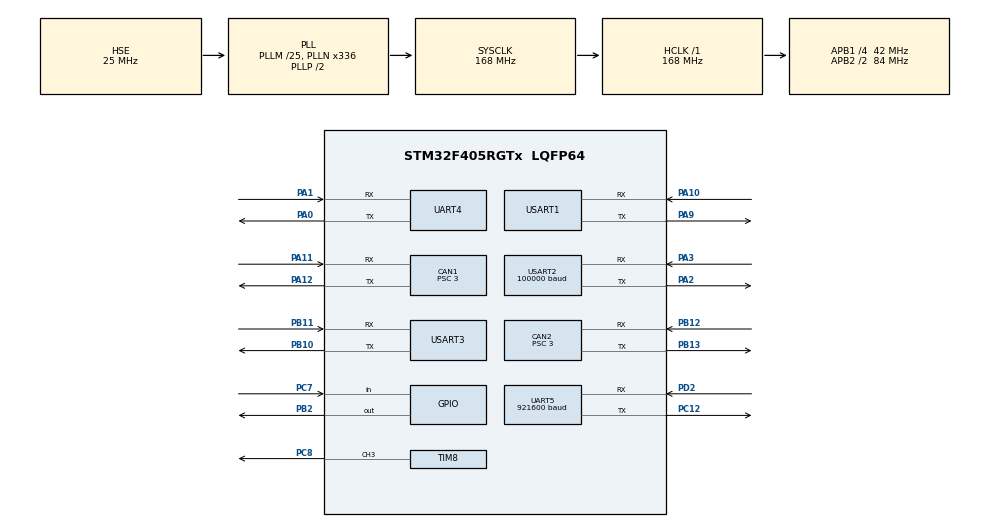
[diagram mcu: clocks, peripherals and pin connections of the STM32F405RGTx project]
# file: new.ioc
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CAN1.ABOM=ENABLE
CAN1.AWUM=ENABLE
CAN1.BS1=CAN_BS1_9TQ
CAN1.BS2=CAN_BS2_4TQ
CAN1.CalculateBaudRate=1000000
CAN1.CalculateTimeBit=1000
CAN1.CalculateTimeQuantum=71.42857142857143
CAN1.NART=DISABLE
CAN1.Prescaler=3
CAN1.TXFP=ENABLE
CAN2.ABOM=ENABLE
CAN2.AWUM=ENABLE
CAN2.BS1=CAN_BS1_9TQ
CAN2.BS2=CAN_BS2_4TQ
CAN2.CalculateBaudRate=1000000
CAN2.CalculateTimeBit=1000
CAN2.CalculateTimeQuantum=71.42857142857143
CAN2.NART=ENABLE
CAN2.Prescaler=3
CAN2.TXFP=ENABLE
Dma.Request0=USART2_RX
Dma.Request1=UART4_RX
Dma.Request2=UART5_RX
Dma.Request3=USART1_RX
Dma.UART4_RX.1.Direction=DMA_PERIPH_TO_MEMORY
Dma.UART4_RX.1.FIFOMode=DMA_FIFOMODE_DISABLE
Dma.UART4_RX.1.Instance=DMA1_Stream2
Dma.UART4_RX.1.MemDataAlignment=DMA_MDATAALIGN_BYTE
Dma.UART4_RX.1.MemInc=DMA_MINC_ENABLE
Dma.UART4_RX.1.Mode=DMA_CIRCULAR
Dma.UART4_RX.1.PeriphDataAlignment=DMA_PDATAALIGN_BYTE
Dma.UART4_RX.1.PeriphInc=DMA_PINC_DISABLE
Dma.UART4_RX.1.Priority=DMA_PRIORITY_VERY_HIGH
Dma.UART5_RX.2.Direction=DMA_PERIPH_TO_MEMORY
Dma.UART5_RX.2.FIFOMode=DMA_FIFOMODE_DISABLE
Dma.UART5_RX.2.Instance=DMA1_Stream0
Dma.UART5_RX.2.MemDataAlignment=DMA_MDATAALIGN_BYTE
Dma.UART5_RX.2.MemInc=DMA_MINC_ENABLE
Dma.UART5_RX.2.Mode=DMA_CIRCULAR
Dma.UART5_RX.2.PeriphDataAlignment=DMA_PDATAALIGN_BYTE
Dma.UART5_RX.2.PeriphInc=DMA_PINC_DISABLE
Dma.UART5_RX.2.Priority=DMA_PRIORITY_VERY_HIGH
Dma.USART1_RX.3.Direction=DMA_PERIPH_TO_MEMORY
Dma.USART1_RX.3.FIFOMode=DMA_FIFOMODE_DISABLE
Dma.USART1_RX.3.Instance=DMA2_Stream2
Dma.USART1_RX.3.MemDataAlignment=DMA_MDATAALIGN_BYTE
Dma.USART1_RX.3.MemInc=DMA_MINC_ENABLE
Dma.USART1_RX.3.Mode=DMA_CIRCULAR
Dma.USART1_RX.3.PeriphDataAlignment=DMA_PDATAALIGN_BYTE
Dma.USART1_RX.3.PeriphInc=DMA_PINC_DISABLE
Dma.USART1_RX.3.Priority=DMA_PRIORITY_VERY_HIGH
Dma.USART2_RX.0.Direction=DMA_PERIPH_TO_MEMORY
Dma.USART2_RX.0.FIFOMode=DMA_FIFOMODE_DISABLE
Dma.USART2_RX.0.Instance=DMA1_Stream5
Dma.USART2_RX.0.MemDataAlignment=DMA_MDATAALIGN_BYTE
Dma.USART2_RX.0.MemInc=DMA_MINC_ENABLE
Dma.USART2_RX.0.Mode=DMA_NORMAL
Dma.USART2_RX.0.PeriphDataAlignment=DMA_PDATAALIGN_BYTE
Dma.USART2_RX.0.PeriphInc=DMA_PINC_DISABLE
Dma.USART2_RX.0.Priority=DMA_PRIORITY_VERY_HIGH
FREERTOS.INCLUDE_vTaskDelayUntil=1
FREERTOS.Tasks01=chassis__task,0,512,chassis_task,Default,NULL,Dynamic,NULL,NULL;Gimbal__Task,0,512,Gimbal_Task,Default,NULL,Dynamic,NULL,NULL;can__Task,-1,512,can_Task,Default,NULL,Dynamic,NULL,NULL;vofa__Task,-2,128,vofa_Task,Default,NULL,Dynamic,NULL,NULL;Detect__Task,-1,512,Detect_Task,Default,NULL,Dynamic,NULL,NULL
IWDG.Prescaler=IWDG_PRESCALER_32
IWDG.Reload=100
Mcu.Family=STM32F4
Mcu.Name=STM32F405RGTx
Mcu.Package=LQFP64
NVIC.CAN1_RX0_IRQn=true\:5\:0\:true\:false\:true\:true\:true\:true\:true
NVIC.CAN2_RX0_IRQn=true\:5\:0\:true\:false\:true\:true\:true\:true\:true
NVIC.DMA1_Stream0_IRQn=true\:5\:0\:false\:false\:true\:true\:false\:true\:true
NVIC.DMA1_Stream2_IRQn=true\:5\:0\:false\:false\:true\:true\:false\:true\:true
NVIC.DMA1_Stream5_IRQn=true\:5\:0\:true\:false\:true\:true\:false\:true\:true
NVIC.DMA2_Stream2_IRQn=true\:5\:0\:false\:false\:true\:true\:false\:true\:true
NVIC.PriorityGroup=NVIC_PRIORITYGROUP_4
NVIC.TIM8_TRG_COM_TIM14_IRQn=true\:15\:0\:true\:false\:true\:false\:false\:true\:true
NVIC.TimeBase=TIM8_TRG_COM_TIM14_IRQn
NVIC.TimeBaseIP=TIM14
NVIC.UART4_IRQn=true\:8\:0\:true\:false\:true\:true\:true\:true\:true
NVIC.UART5_IRQn=true\:5\:0\:true\:false\:true\:true\:true\:true\:true
NVIC.USART1_IRQn=true\:7\:0\:true\:false\:true\:true\:true\:true\:true
NVIC.USART2_IRQn=true\:7\:0\:true\:false\:true\:true\:true\:true\:true
PA0-WKUP.Mode=Asynchronous
PA0-WKUP.Signal=UART4_TX
PA1.Mode=Asynchronous
PA1.Signal=UART4_RX
PA10.Mode=Asynchronous
PA10.Signal=USART1_RX
PA11.GPIO_PuPd=GPIO_NOPULL
PA11.Mode=CAN_Activate
PA11.Signal=CAN1_RX
PA12.Mode=CAN_Activate
PA12.Signal=CAN1_TX
PA13.Mode=Serial_Wire
PA13.Signal=SYS_JTMS-SWDIO
PA14.Mode=Serial_Wire
PA14.Signal=SYS_JTCK-SWCLK
PA2.GPIO_PuPd=GPIO_PULLUP
PA2.Mode=Asynchronous
PA2.Signal=USART2_TX
PA3.GPIO_PuPd=GPIO_PULLUP
PA3.Mode=Asynchronous
PA3.Signal=USART2_RX
PA9.Mode=Asynchronous
PA9.Signal=USART1_TX
PB10.Mode=Asynchronous
PB10.Signal=USART3_TX
PB11.Mode=Asynchronous
PB11.Signal=USART3_RX
PB12.Mode=CAN_Activate
PB12.Signal=CAN2_RX
PB13.Mode=CAN_Activate
PB13.Signal=CAN2_TX
PB2.Signal=GPIO_Output
PC12.Mode=Asynchronous
PC12.Signal=UART5_TX
PC7.Signal=GPIO_Input
PC8.Signal=S_TIM8_CH3
PD2.Mode=Asynchronous
PD2.Signal=UART5_RX
PH0-OSC_IN.Mode=HSE-External-Oscillator
PH0-OSC_IN.Signal=RCC_OSC_IN
PH1-OSC_OUT.Mode=HSE-External-Oscillator
PH1-OSC_OUT.Signal=RCC_OSC_OUT
ProjectManager.HeapSize=0x800
ProjectManager.StackSize=0x800
ProjectManager.TargetToolchain=MDK-ARM V5
RCC.48MHZClocksFreq_Value=84000000
RCC.AHBFreq_Value=168000000
RCC.APB1CLKDivider=RCC_HCLK_DIV4
RCC.APB1Freq_Value=42000000
RCC.APB1TimFreq_Value=84000000
RCC.APB2CLKDivider=RCC_HCLK_DIV2
RCC.APB2Freq_Value=84000000
RCC.APB2TimFreq_Value=168000000
RCC.CortexFreq_Value=168000000
RCC.HCLKFreq_Value=168000000
RCC.HSE_VALUE=25000000
RCC.HSI_VALUE=16000000
RCC.LSE_VALUE=32768
RCC.PLLM=25
RCC.PLLN=336
RCC.PLLSourceVirtual=RCC_PLLSOURCE_HSE
RCC.SYSCLKFreq_VALUE=168000000
RCC.SYSCLKSource=RCC_SYSCLKSOURCE_PLLCLK
RCC.VCOOutputFreq_Value=336000000
SH.S_TIM8_CH3.0=TIM8_CH3,PWM Generation3 CH3
TIM8.AutoReloadPreload=TIM_AUTORELOAD_PRELOAD_ENABLE
TIM8.Channel-PWM\ Generation3\ CH3=TIM_CHANNEL_3
TIM8.OCPolarity_3=TIM_OCPOLARITY_HIGH
TIM8.Period=20000-1
TIM8.Prescaler=168-1
TIM8.Pulse-PWM\ Generation3\ CH3=2340
TIM8.RepetitionCounter=250
UART4.VirtualMode=Asynchronous
UART5.BaudRate=921600
UART5.VirtualMode=Asynchronous
USART1.VirtualMode=VM_ASYNC
USART2.BaudRate=100000
USART2.Parity=PARITY_EVEN
USART2.VirtualMode=VM_ASYNC
USART2.WordLength=WORDLENGTH_9B
USART3.VirtualMode=VM_ASYNC
VP_FREERTOS_VS_CMSIS_V1.Mode=CMSIS_V1
VP_IWDG_VS_IWDG.Mode=IWDG_Activate
VP_SYS_VS_tim14.Mode=TIM14
board=custom

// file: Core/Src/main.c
/* USER CODE BEGIN Header */
/**
  ******************************************************************************
  * @file           : main.c
  * @brief          : Main program body
  ******************************************************************************
  * @attention
  *
  * Copyright (c) 2022 STMicroelectronics.
  * All rights reserved.
  *
  * This software is licensed under terms that can be found in the LICENSE file
  * in the root directory of this software component.
  * If no LICENSE file comes with this software, it is provided AS-IS.
  *
  ******************************************************************************
  */
/* USER CODE END Header */
#include "main.h"
#include "cmsis_os.h"
#include "can.h"
#include "dma.h"
#include "iwdg.h"
#include "tim.h"
#include "usart.h"
#include "gpio.h"

/* USER CODE BEGIN Includes */
#include "rc.h"
#include "pid.h"
#include "imu_data_decode.h"
#include "Report.h"
#include "vision.h"
extern void PID_init(void);
/* USER CODE END Includes */

/* USER CODE BEGIN PV */
extern uint8_t hi229_data;
extern uint8_t MPU_data;
extern uint8_t UART1_Rx_Buf[14];
/* USER CODE END PV */

void SystemClock_Config(void);
void MX_FREERTOS_Init(void);

/* USER CODE BEGIN 0 */

extern unsigned char sbus_rx_buffer[2][RC_FRAME_LENGTH]; //double sbus rx buffer to save data
extern uint8_t UART4_Rx_temp[2][REFFER_REC_LENGTH];
extern uint8_t UART4_Flag;
/* USER CODE END 0 */

int main(void)
{

  /* MCU Configuration--------------------------------------------------------*/

  /* Reset of all peripherals, Initializes the Flash interface and the Systick. */
  HAL_Init();

  /* Configure the system clock */
  SystemClock_Config();

  /* Initialize all configured peripherals */
  MX_GPIO_Init();
  MX_DMA_Init();
  MX_CAN1_Init();
  MX_CAN2_Init();
  MX_USART2_UART_Init();
  MX_UART5_Init();
  MX_TIM8_Init();
  MX_USART3_UART_Init();
  MX_UART4_Init();
  MX_USART1_UART_Init();
  MX_IWDG_Init();
  /* USER CODE BEGIN 2 */
	CAN1_Filterinit_And_Start();
	CAN2_Filterinit_And_Start();
	PID_init();
  Usart_Init_Report();
  imu_data_decode_init();

	CAN1_0x333_TX(48);

  HAL_TIM_PWM_Start(&htim8,TIM_CHANNEL_3);

/*
  __HAL_UART_ENABLE_IT(&huart1, UART_IT_IDLE);
	HAL_UART_Receive_DMA(&huart1,UART1_Rx_Buf,6);
*/

	HAL_UART_Receive_DMA(&huart5,&MPU_data,1);
  //__HAL_TIM_SET_COMPARE(&htim8,TIM_CHANNEL_3,100);

	HAL_UART_Receive_DMA(&huart2,&sbus_rx_buffer[0][0],RC_FRAME_LENGTH);
  HAL_UART_Receive_DMA(&huart4, (uint8_t*)UART4_Rx_temp[UART4_Flag], REFFER_REC_LENGTH);
  /* USER CODE END 2 */

  /* Call init function for freertos objects (in freertos.c) */
  MX_FREERTOS_Init();

  /* Start scheduler */
  osKernelStart();

  /* We should never get here as control is now taken by the scheduler */
  /* Infinite loop */
  while (1)
  {

  }
}

void SystemClock_Config(void)
{
  RCC_OscInitTypeDef RCC_OscInitStruct = {0};
  RCC_ClkInitTypeDef RCC_ClkInitStruct = {0};

  /** Configure the main internal regulator output voltage
  */
  __HAL_RCC_PWR_CLK_ENABLE();
  __HAL_PWR_VOLTAGESCALING_CONFIG(PWR_REGULATOR_VOLTAGE_SCALE1);

  /** Initializes the RCC Oscillators according to the specified parameters
  * in the RCC_OscInitTypeDef structure.
  */
  RCC_OscInitStruct.OscillatorType = RCC_OSCILLATORTYPE_LSI|RCC_OSCILLATORTYPE_HSE;
  RCC_OscInitStruct.HSEState = RCC_HSE_ON;
  RCC_OscInitStruct.LSIState = RCC_LSI_ON;
  RCC_OscInitStruct.PLL.PLLState = RCC_PLL_ON;
  RCC_OscInitStruct.PLL.PLLSource = RCC_PLLSOURCE_HSE;
  RCC_OscInitStruct.PLL.PLLM = 25;
  RCC_OscInitStruct.PLL.PLLN = 336;
  RCC_OscInitStruct.PLL.PLLP = RCC_PLLP_DIV2;
  RCC_OscInitStruct.PLL.PLLQ = 4;
  if (HAL_RCC_OscConfig(&RCC_OscInitStruct) != HAL_OK)
  {
    Error_Handler();
  }

  /** Initializes the CPU, AHB and APB buses clocks
  */
  RCC_ClkInitStruct.ClockType = RCC_CLOCKTYPE_HCLK|RCC_CLOCKTYPE_SYSCLK
                              |RCC_CLOCKTYPE_PCLK1|RCC_CLOCKTYPE_PCLK2;
  RCC_ClkInitStruct.SYSCLKSource = RCC_SYSCLKSOURCE_PLLCLK;
  RCC_ClkInitStruct.AHBCLKDivider = RCC_SYSCLK_DIV1;
  RCC_ClkInitStruct.APB1CLKDivider = RCC_HCLK_DIV4;
  RCC_ClkInitStruct.APB2CLKDivider = RCC_HCLK_DIV2;

  if (HAL_RCC_ClockConfig(&RCC_ClkInitStruct, FLASH_LATENCY_5) != HAL_OK)
  {
    Error_Handler();
  }
}

void HAL_TIM_PeriodElapsedCallback(TIM_HandleTypeDef *htim)
{
  if (htim->Instance == TIM14) {
    HAL_IncTick();
  }
}

void Error_Handler(void)
{
  __disable_irq();
  while (1)
  {
  }
}

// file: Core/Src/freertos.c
/* USER CODE BEGIN Header */
/**
  ******************************************************************************
  * File Name          : freertos.c
  * Description        : Code for freertos applications
  ******************************************************************************
  * @attention
  *
  * Copyright (c) 2022 STMicroelectronics.
  * All rights reserved.
  *
  * This software is licensed under terms that can be found in the LICENSE file
  * in the root directory of this software component.
  * If no LICENSE file comes with this software, it is provided AS-IS.
  *
  ******************************************************************************
  */
/* USER CODE END Header */

#include "FreeRTOS.h"
#include "task.h"
#include "main.h"
#include "cmsis_os.h"

/* USER CODE BEGIN Includes */
#include "rc.h"
#include "task.h"
#include "pid.h"
#include "can.h"
#include "vision.h"
#include "Report.h"
#include "referee.h"
#include "detect_task.h"
#include "chassis_mode.h"

extern void Chassis_PID(void);
extern void Gimbal_PID(void);
extern void dial_PID(void);
extern void Friction_PID(void);
extern int infra_red_GPIO;
extern int infra_red_MODE;
/* USER CODE END Includes */

osThreadId chassis__taskHandle;
osThreadId Gimbal__TaskHandle;
osThreadId can__TaskHandle;
osThreadId vofa__TaskHandle;
osThreadId Detect__TaskHandle;

void chassis_task(void const * argument);
void Gimbal_Task(void const * argument);
void can_Task(void const * argument);
void vofa_Task(void const * argument);
void Detect_Task(void const * argument);

void MX_FREERTOS_Init(void); /* (MISRA C 2004 rule 8.1) */

/* GetIdleTaskMemory prototype (linked to static allocation support) */
void vApplicationGetIdleTaskMemory( StaticTask_t **ppxIdleTaskTCBBuffer, StackType_t **ppxIdleTaskStackBuffer, uint32_t *pulIdleTaskStackSize );

/* USER CODE BEGIN GET_IDLE_TASK_MEMORY */
static StaticTask_t xIdleTaskTCBBuffer;
static StackType_t xIdleStack[configMINIMAL_STACK_SIZE];

void vApplicationGetIdleTaskMemory( StaticTask_t **ppxIdleTaskTCBBuffer, StackType_t **ppxIdleTaskStackBuffer, uint32_t *pulIdleTaskStackSize )
{
  *ppxIdleTaskTCBBuffer = &xIdleTaskTCBBuffer;
  *ppxIdleTaskStackBuffer = &xIdleStack[0];
  *pulIdleTaskStackSize = configMINIMAL_STACK_SIZE;
  /* place for user code */
}
/* USER CODE END GET_IDLE_TASK_MEMORY */

void MX_FREERTOS_Init(void) {

  /* Create the thread(s) */
  /* definition and creation of chassis__task */
  osThreadDef(chassis__task, chassis_task, osPriorityNormal, 0, 512);
  chassis__taskHandle = osThreadCreate(osThread(chassis__task), NULL);

  /* definition and creation of Gimbal__Task */
  osThreadDef(Gimbal__Task, Gimbal_Task, osPriorityNormal, 0, 512);
  Gimbal__TaskHandle = osThreadCreate(osThread(Gimbal__Task), NULL);

  /* definition and creation of can__Task */
  osThreadDef(can__Task, can_Task, osPriorityBelowNormal, 0, 512);
  can__TaskHandle = osThreadCreate(osThread(can__Task), NULL);

  /* definition and creation of vofa__Task */
  osThreadDef(vofa__Task, vofa_Task, osPriorityLow, 0, 128);
  vofa__TaskHandle = osThreadCreate(osThread(vofa__Task), NULL);

  /* definition and creation of Detect__Task */
  osThreadDef(Detect__Task, Detect_Task, osPriorityBelowNormal, 0, 512);
  Detect__TaskHandle = osThreadCreate(osThread(Detect__Task), NULL);

}

void chassis_task(void const * argument)
{
  /* USER CODE BEGIN chassis_task */
	static portTickType PreviousWakeTime1;
	const portTickType TimeIncrement=pdMS_TO_TICKS(2);
	PreviousWakeTime1=xTaskGetTickCount();

  /* Infinite loop */
  for(;;)
  {
		ReadRc_Chassis();
		Function_Choose();
		Chassis_PID();
   	vTaskDelayUntil(&PreviousWakeTime1,TimeIncrement);
  }
  /* USER CODE END chassis_task */
}

void Gimbal_Task(void const * argument)
{
  /* USER CODE BEGIN Gimbal_Task */
	static portTickType PreviousWakeTime1;
	const portTickType TimeIncrement=pdMS_TO_TICKS(2);
	PreviousWakeTime1=xTaskGetTickCount();
  /* Infinite loop */
  for(;;)
  {
		//cnt629++;
		ReadRc_Gimbal();
		Gimbal_PID();

		Friction_PID();

		ReadRc_dial();
		dial_PID();

		Offline_task();

	  vTaskDelayUntil(&PreviousWakeTime1,TimeIncrement);
  }
  /* USER CODE END Gimbal_Task */
}

/* USER CODE BEGIN Header_can_Task */
/**
* @brief Function implementing the can__Task thread.
* @param argument: Not used
* @retval None
*/
extern KEY	KEY_Date;
int chasses_pcb_rst=0;
int cnt62521=0;
/* USER CODE END Header_can_Task */
void can_Task(void const * argument)
{
  /* USER CODE BEGIN can_Task */
	static portTickType PreviousWakeTime1;
	const portTickType TimeIncrement=pdMS_TO_TICKS(5);
	PreviousWakeTime1=xTaskGetTickCount();
  /* Infinite loop */
  for(;;)
  {
		cnt62521++;
		Offline_task();
		if(KEY_Date.Ctrl==1) chasses_pcb_rst=1;
		else if (KEY_Date.Ctrl==0) chasses_pcb_rst=0;
		if(cnt62521>100)
		{
		HAL_GPIO_TogglePin(GPIOB,GPIO_PIN_2);
			cnt62521=0;
		}
	  CAN1_send();
	  CAN2_send();
		vTaskDelayUntil(&PreviousWakeTime1,TimeIncrement);
  }
  /* USER CODE END can_Task */
}

/* USER CODE BEGIN Header_vofa_Task */
/**
* @brief Function implementing the vofa__Task thread.
* @param argument: Not used
* @retval None
*/
int cnt16=0;
extern 	int16_t left_X;
extern 	int16_t left_Y;
extern RC_Ctl_t RC_CtrlData;
/* USER CODE END Header_vofa_Task */
void vofa_Task(void const * argument)
{
  /* USER CODE BEGIN vofa_Task */
  static portTickType PreviousWakeTime1;
	const portTickType TimeIncrement=pdMS_TO_TICKS(2);
	PreviousWakeTime1=xTaskGetTickCount();
  /* Infinite loop */
  for(;;)
  {
    //vision_Send();
		cnt16++;
		report_SendData(RC_CtrlData.mouse.x,left_X,RC_CtrlData.mouse.x,left_Y,0);
		vTaskDelayUntil(&PreviousWakeTime1,TimeIncrement);
  }
  /* USER CODE END vofa_Task */
}

void Detect_Task(void const * argument)
{
  /* USER CODE BEGIN Detect_Task */

  detect_init();

  static portTickType PreviousWakeTime1;
  const portTickType TimeIncrement=pdMS_TO_TICKS(57);
  PreviousWakeTime1=xTaskGetTickCount();

  /* Infinite loop */
  for(;;)
  {
    	DetectTask();
			vTaskDelayUntil(&PreviousWakeTime1,TimeIncrement);
   		vTaskDelay(DETECT_TASK_INIT_TIME);
  }
  /* USER CODE END Detect_Task */
}
